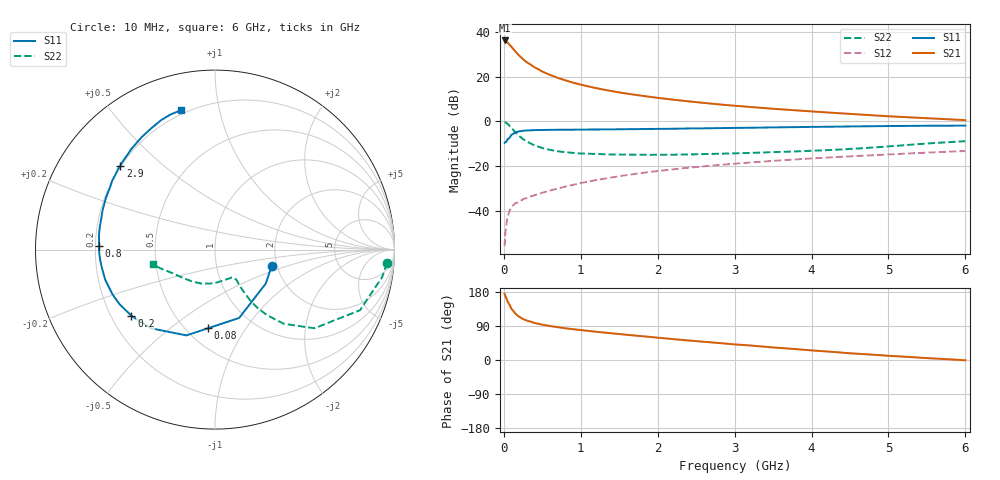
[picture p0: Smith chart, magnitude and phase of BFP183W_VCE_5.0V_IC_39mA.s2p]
! Infineon Technologies  Discrete & RF Semiconductors
! BFP183W
! VCE =  5.0 V,  IC =  39 mA
! Common Emitter S-Parameters:  Jan 2017
# GHz  S  MA  R  50
!  f  S11  S21  S12  S22
! GHz  MAG  ANG  MAG  ANG  MAG  ANG  MAG  ANG
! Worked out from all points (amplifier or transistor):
!   77 points, 10 MHz to 6 GHz, reference 50 ohm
!   highest |S21| = 36.2 dB at 10 MHz (marker M1)
!   |S21| within 3 dB of that: start of sweep to 102.6 MHz
!   unconditionally stable (mu >= 1): 805.1 MHz to 3.327 GHz
!   at 130 MHz: K = 0.35, MSG = 34.7 dB, |S12| = -37.3 dB
!   at 2.2 GHz: K = 1.06, MAG = 14.1 dB, |S12| = -21.5 dB
!   at 6 GHz: K = 0.86, MSG = 6.9 dB, |S12| = -13.3 dB
!   S11 on the Smith chart (normalised r, x): 10 MHz: 1.88, -0.37; 80 MHz: 0.63, -0.69; 200 MHz: 0.28, -0.32; 800 MHz: 0.21, +0.01; 2.9 GHz: 0.20, +0.37; 6 GHz: 0.18, +0.77
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0.01  0.3289 -15.7  64.34 174.8  0.0016 87.2  0.9603 -4.4
0.02  0.3404 -33.8  63.35 168.8  0.0032 98.3  0.9442 -9.3
0.05  0.4037 -70.5  57.85 153.7  0.0074 68.8  0.8756 -22.7
0.08  0.4409 -95.4  50.1 143.2  0.0103 62.7  0.7673 -31.2
0.1  0.5037 -108.4  46.1 134.5  0.0122 60.2  0.7069 -38.3
0.15  0.5653 -129.1  36.46 122.3  0.0146 52.7  0.5646 -47.1
0.2  0.5939 -141.6  29.43 114.0  0.0155 50.6  0.4675 -51.5
0.25  0.6125 -150.2  24.51 108.1  0.0181 50.2  0.3989 -54.0
0.3  0.6231 -156.3  20.86 103.9  0.0193 50.3  0.3495 -55.2
0.4  0.6342 -164.7  16.08 97.6  0.0221 53.3  0.2875 -55.8
0.5  0.638 -170.4  12.97 93.2  0.0251 55.7  0.2515 -55.6
0.6  0.6426 -174.9  10.91 89.6  0.0281 56.8  0.2286 -55.3
0.7  0.6452 -178.4  9.376 86.7  0.0311 59.7  0.2126 -54.8
0.8  0.6474 178.3  8.234 83.7  0.0346 62.5  0.2035 -54.8
1.1  0.6527 170.7  6.016 76.8  0.0447 63.6  0.1879 -56.5
1.5  0.6608 162.3  4.426 68.5  0.0589 64.8  0.1795 -61.5
2.1  0.6769 151.1  3.19 57.1  0.0803 63.4  0.1781 -74.4
2.9  0.7057 138.4  2.305 43.0  0.1086 59.5  0.1895 -96.2
3.1  0.7125 135.4  2.158 39.8  0.1156 58.3  0.1934 -101.7
4.1  0.7509 121.9  1.618 23.9  0.1504 52.2  0.2218 -128.6
5.1  0.7834 111.6  1.267 10.0  0.1843 45.6  0.2817 -153.6
6  0.7991 103.7  1.059 -0.8  0.216 39.2  0.3579 -166.6
